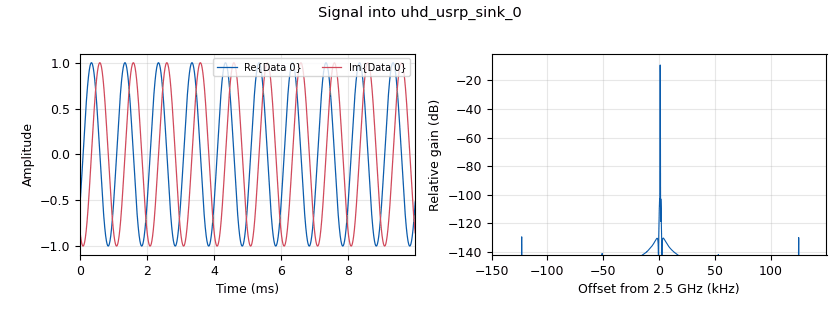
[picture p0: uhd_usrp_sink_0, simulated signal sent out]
options:
  parameters:
    author: Levi Farinas
    generate_options: no_gui
    id: cw
    output_language: python
    title: Continuous Wave
  states: {}

blocks:
- name: center_freq
  id: variable
  parameters:
    value: 2.5e9
  states: {}
- name: rf_gain
  id: variable
  parameters:
    value: '50'
  states: {}
- name: sdr_fs
  id: variable
  parameters:
    value: int(300e3)
  states: {}
- name: usrp_string
  id: variable
  parameters:
    value: '""'
  states: {}
- name: analog_sig_source_x_1
  id: analog_sig_source_x
  parameters:
    amp: '1'
    freq: 1e3
    offset: '0'
    phase: '0'
    samp_rate: sdr_fs
    type: complex
    waveform: analog.GR_COS_WAVE
  states: {}
- name: uhd_usrp_sink_0
  id: uhd_usrp_sink
  parameters:
    ant0: '"TX/RX"'
    center_freq0: center_freq-1e3
    dev_addr: usrp_string
    gain0: rf_gain
    samp_rate: sdr_fs
    sync: pc_clock
    type: fc32
  states: {}

connections:
- [analog_sig_source_x_1, '0', uhd_usrp_sink_0, '0']

metadata:
  file_format: 1
  grc_version: 3.10.12.0
